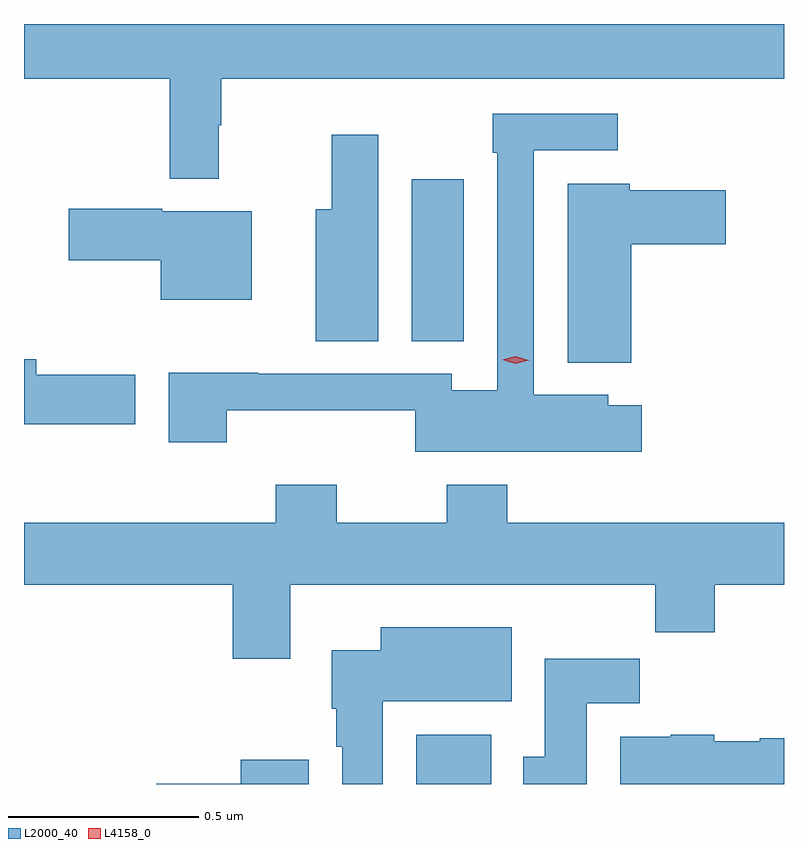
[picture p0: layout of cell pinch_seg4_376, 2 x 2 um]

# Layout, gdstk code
import gdstk
lib = gdstk.Library(unit=1e-6, precision=1e-09)
def R(c, l, rs):  # rectangles x0, y0, x1, y1
    for r in rs: c.add(gdstk.rectangle(r[:2], r[2:], *l))
def P(c, l, *ps):  # polygons
    for p in ps: c.add(gdstk.Polygon(p, *l))
L2000_40 = (2000, 40)
L4158_0 = (4158, 0)

pinch_seg4_376 = lib.new_cell('pinch_seg4_376')
R(pinch_seg4_376, L2000_40, [(959.012,802.956,959.209,803.086), (959,804.121,959.137,804.547)])
P(pinch_seg4_376, L2000_40, [(958.492,804.689),(958.499,804.689),(958.499,804.812),(959.98,804.812),(959.98,804.956),(957.98,804.956),(957.98,804.812),(958.364,804.812),(958.364,804.549),(958.492,804.549)],
  [(959.605,803.953),(959.517,803.953),(959.517,803.98),(959.322,803.98),(959.322,804.624),(959.542,804.624),(959.542,804.72),(959.214,804.72),(959.214,804.617),(959.226,804.617),(959.226,803.992),(959.106,803.992),(959.106,804.036),(958.597,804.036),(958.597,804.038),(958.361,804.038),(958.361,803.856),(958.514,803.856),(958.514,803.939),(959.01,803.939),(959.01,803.831),(959.605,803.831)],
  [(958.912,804.664),(958.79,804.664),(958.79,804.469),(958.748,804.469),(958.748,804.121),(958.912,804.121)],
  [(959.578,804.377),(959.827,804.377),(959.827,804.519),(959.574,804.519),(959.574,804.535),(959.411,804.535),(959.411,804.065),(959.578,804.065)],
  [(958.579,804.463),(958.344,804.463),(958.344,804.47),(958.098,804.47),(958.098,804.334),(958.34,804.334),(958.34,804.23),(958.579,804.23)],
  [(958.273,804.033),(958.012,804.033),(958.012,804.074),(957.98,804.074),(957.98,803.903),(958.273,803.903)],
  [(958.681,803.48),(959.641,803.48),(959.641,803.356),(959.798,803.356),(959.798,803.48),(959.98,803.48),(959.98,803.644),(959.252,803.644),(959.252,803.743),(959.092,803.743),(959.092,803.644),(958.803,803.644),(958.803,803.743),(958.643,803.743),(958.643,803.644),(957.98,803.644),(957.98,803.48),(958.529,803.48),(958.529,803.286),(958.681,803.286)],
  [(958.924,803.174),(959.263,803.174),(959.263,803.368),(958.919,803.368),(958.919,803.308),(958.79,803.308),(958.79,803.154),(958.802,803.154),(958.802,803.054),(958.817,803.054),(958.817,802.956),(958.924,802.956)],
  [(959.461,803.168),(959.6,803.168),(959.6,803.286),(959.351,803.286),(959.351,803.028),(959.294,803.028),(959.294,802.956),(959.461,802.956)],
  [(959.98,803.076),(959.916,803.076),(959.916,803.068),(959.796,803.068),(959.796,803.086),(959.682,803.086),(959.682,803.08),(959.549,803.08),(959.549,802.956),(959.98,802.956)],
  [(958.729,803.02),(958.55,803.02),(958.55,802.957),(958.328,802.957),(958.328,802.956),(958.729,802.956)])
P(pinch_seg4_376, L4158_0, [(959.273,804.062),(959.239,804.072),(959.239,804.072),(959.239,804.073),(959.274,804.082),(959.308,804.071),(959.309,804.071),(959.308,804.071)])

lib.write_gds('pinch_seg4_376.gds')
